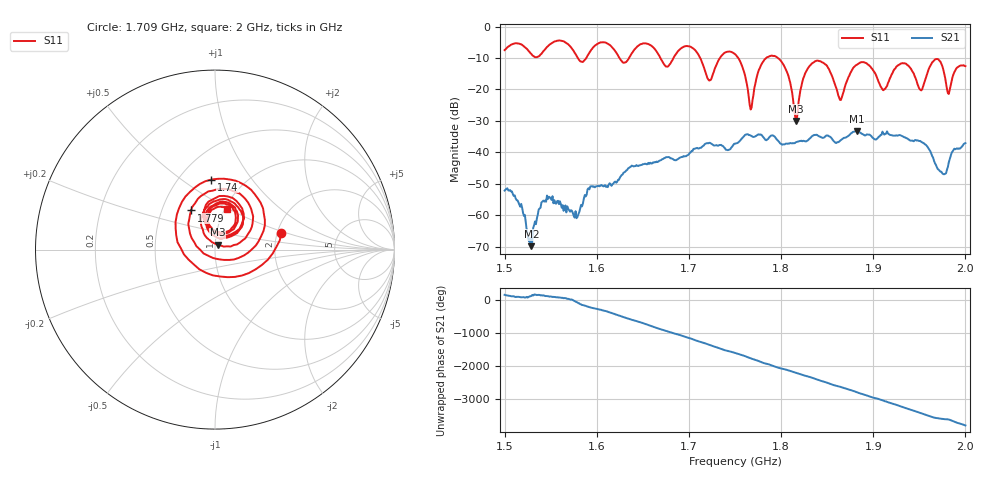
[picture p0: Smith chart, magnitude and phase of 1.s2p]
! NanoVNA-App by SYSJOINT et al v1.1.209 (+OD18)
! Date: 2026-01-21 14:22:07
! Start: 1,5GHz Stop: 2GHz Points: 501
! S-Parameter data: F S11 S21 S12 S22
# Hz S RI R 50
!  Frequency  S11_Real  S11_Imag  S21_Real  S21_Imag  S12_Real  S12_Imag  S22_Real  S22_Imag
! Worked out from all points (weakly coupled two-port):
!   501 points, 1.5 GHz to 2 GHz, reference 50 ohm
!   highest |S21| = -33.21 dB at 1.882 GHz (marker M1); lowest = -69.8 dB at 1.529 GHz (marker M2)
!   lowest |S11| = -30.0 dB at 1.816 GHz (marker M3), VSWR 1.07, Z = 51.6 + j2.8 ohm
!   |S11| at or under -10 dB: 1.712 GHz to 1.734 GHz (21.34 MHz wide, 1.24 % of centre); 1.753 GHz to 1.784 GHz (30.37 MHz wide, 1.72 % of centre); 1.797 GHz to end of sweep (the widest 3 of 6)
!   S12 and S22 are empty: the file has one direction only
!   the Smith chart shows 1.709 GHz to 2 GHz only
!   S11 on the Smith chart (normalised r, x): 1.709 GHz: 2.10, +0.46; 1.74 GHz: 0.71, +0.65; 1.779 GHz: 0.70, +0.33; 2 GHz: 1.02, +0.49
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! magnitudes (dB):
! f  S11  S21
! 1.5 GHz  -7.5  -52.1
! 1.529 GHz  -8.7  -69.8
! 1.547 GHz  -6.3  -54.8
! 1.584 GHz  -11.2  -57.1
! 1.605 GHz  -5.0  -50.4
! 1.667 GHz  -8.9  -42.9
! 1.709 GHz  -8.4  -38.6
! 1.722 GHz  -17.2  -37.0
! 1.74 GHz  -8.2  -39.1
! 1.75 GHz  -8.8  -37.2
! 1.767 GHz  -26.4  -34.7
! 1.779 GHz  -11.9  -34.5
! 1.801 GHz  -11.4  -37.5
! 1.816 GHz  -30.0  -36.8
! 1.834 GHz  -11.6  -34.7
! 1.864 GHz  -23.3  -36.3
! 1.882 GHz  -12.2  -33.2
! 1.917 GHz  -17.4  -34.2
! 1.932 GHz  -11.6  -34.9
! 1.977 GHz  -14.9  -46.9
! 1.982 GHz  -21.4  -43.1
! 2 GHz  -12.6  -37.1
